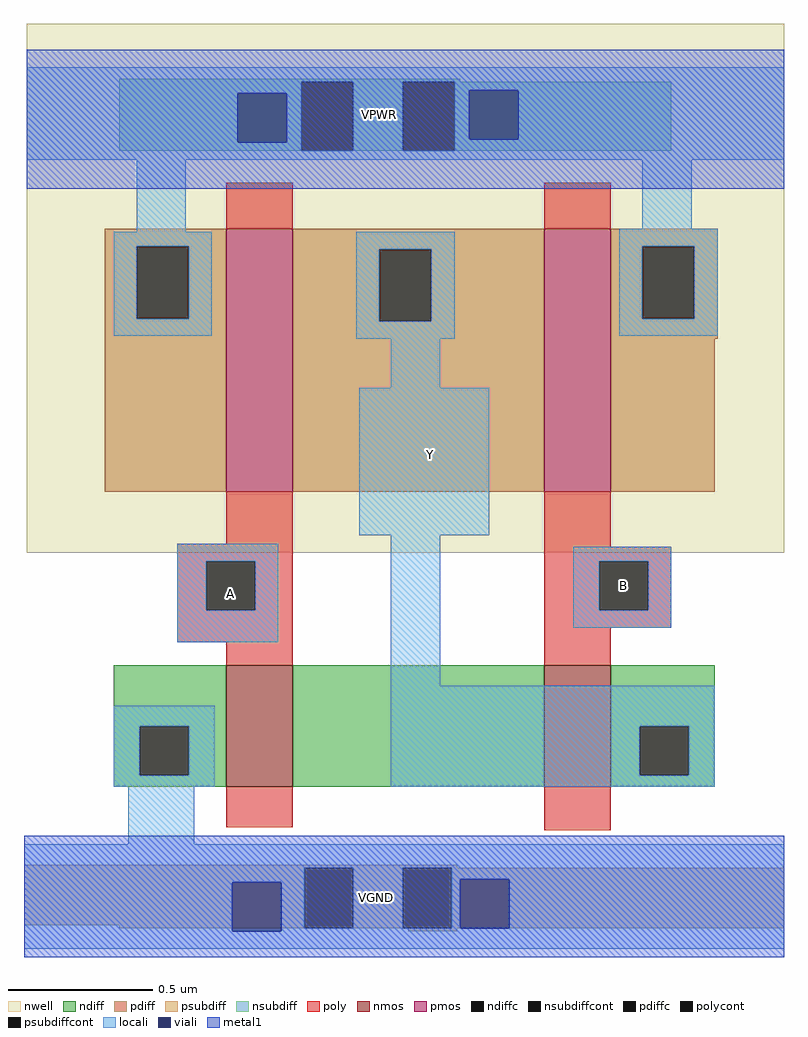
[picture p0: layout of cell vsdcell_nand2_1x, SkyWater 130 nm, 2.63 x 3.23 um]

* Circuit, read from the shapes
.subckt vsdcell_nand2_1x A B VPWR VGND Y
XM1 n1 A VGND VGND sky130_fd_pr__nfet_01v8 w=0.42 l=0.23
XM2 Y B n1 VGND sky130_fd_pr__nfet_01v8 w=0.42 l=0.23
XM3 Y A VPWR VPWR sky130_fd_pr__pfet_01v8 w=0.91 l=0.23
XM4 VPWR B Y VPWR sky130_fd_pr__pfet_01v8 w=0.91 l=0.23
.ends

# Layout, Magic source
magic
tech sky130A
<< nwell >>
rect -20 122 242 305
<< nmos >>
rect 49 41 72 83
rect 159 41 182 83
<< pmos >>
rect 49 143 72 234
rect 159 143 182 234
<< ndiff >>
rect 10 62 49 83
rect 10 45 19 62
rect 36 45 49 62
rect 10 41 49 45
rect 72 41 159 83
rect 182 62 218 83
rect 182 45 192 62
rect 209 45 218 62
rect 182 41 218 45
<< pdiff >>
rect 7 228 49 234
rect 7 203 18 228
rect 36 203 49 228
rect 7 143 49 203
rect 72 227 159 234
rect 72 202 102 227
rect 120 202 159 227
rect 72 143 159 202
rect 182 228 219 234
rect 182 203 193 228
rect 211 203 219 228
rect 182 196 219 203
rect 182 143 218 196
<< ndiffc >>
rect 19 45 36 62
rect 192 45 209 62
<< pdiffc >>
rect 18 203 36 228
rect 102 202 120 227
rect 193 203 211 228
<< psubdiff >>
rect -21 13 129 14
rect -21 -7 76 13
rect 12 -8 76 -7
rect 93 -8 110 13
rect 127 -8 242 13
rect 112 -9 129 -8
<< nsubdiff >>
rect 12 285 130 286
rect 12 261 75 285
rect 93 261 110 285
rect 128 261 203 285
<< psubdiffcont >>
rect 76 -8 93 13
rect 110 -8 127 13
<< nsubdiffcont >>
rect 75 261 93 285
rect 110 261 128 285
<< poly >>
rect 49 234 72 250
rect 159 234 182 250
rect 49 125 72 143
rect 32 119 72 125
rect 32 102 42 119
rect 59 102 72 119
rect 32 91 72 102
rect 49 83 72 91
rect 159 124 182 143
rect 159 119 203 124
rect 159 102 178 119
rect 195 102 203 119
rect 159 96 203 102
rect 159 83 182 96
rect 49 27 72 41
rect 159 26 182 41
<< polycont >>
rect 42 102 59 119
rect 178 102 195 119
<< locali >>
rect -20 285 242 290
rect -20 281 75 285
rect -20 264 53 281
rect 70 264 75 281
rect -20 261 75 264
rect 93 261 110 285
rect 128 282 242 285
rect 128 265 133 282
rect 150 265 242 282
rect 128 261 242 265
rect -20 258 242 261
rect 18 233 35 258
rect 193 234 210 258
rect 10 228 44 233
rect 10 203 18 228
rect 36 203 44 228
rect 10 197 44 203
rect 94 227 128 233
rect 94 202 102 227
rect 120 202 128 227
rect 94 196 128 202
rect 185 228 219 234
rect 185 203 193 228
rect 211 203 219 228
rect 185 197 219 203
rect 106 179 123 196
rect 95 128 140 179
rect 32 119 67 125
rect 32 102 42 119
rect 59 102 67 119
rect 32 91 67 102
rect 106 76 123 128
rect 169 119 203 124
rect 169 102 178 119
rect 195 102 203 119
rect 169 96 203 102
rect 10 62 45 69
rect 10 45 19 62
rect 36 45 45 62
rect 10 41 45 45
rect 106 62 218 76
rect 106 45 192 62
rect 209 45 218 62
rect 106 41 218 45
rect 15 21 38 41
rect -21 13 242 21
rect -21 8 76 13
rect -21 -9 51 8
rect 68 -8 76 8
rect 93 -8 110 13
rect 127 9 242 13
rect 127 -8 130 9
rect 147 -8 242 9
rect 68 -9 242 -8
rect -21 -15 242 -9
<< viali >>
rect 53 264 70 281
rect 133 265 150 282
rect 51 -9 68 8
rect 130 -8 147 9
<< metal1 >>
rect -20 282 242 296
rect -20 281 133 282
rect -20 264 53 281
rect 70 265 133 281
rect 150 265 242 282
rect 70 264 242 265
rect -20 248 242 264
rect -21 9 242 24
rect -21 8 130 9
rect -21 -9 51 8
rect 68 -8 130 8
rect 147 -8 242 9
rect 68 -9 242 -8
rect -21 -18 242 -9
<< labels >>
flabel locali 104 139 135 173 0 FreeSans 184 0 0 0 Y
port 5 nsew signal output
flabel locali 36 93 65 123 0 FreeSans 184 0 0 0 A
port 1 nsew signal input
flabel locali 173 97 200 124 0 FreeSans 184 0 0 0 B
port 2 nsew signal input
flabel metal1 72 255 132 292 0 FreeSans 184 0 0 0 VPWR
port 3 nsew power bidirectional
flabel metal1 73 -14 129 19 0 FreeSans 120 0 0 0 VGND
port 4 nsew power bidirectional
<< properties >>
string LEFsite unithd
string LEFclass CORE
string FIXED_BBOX 0 0 232 272
string LEFsource USER
string LEForigin 0 0
<< end >>
